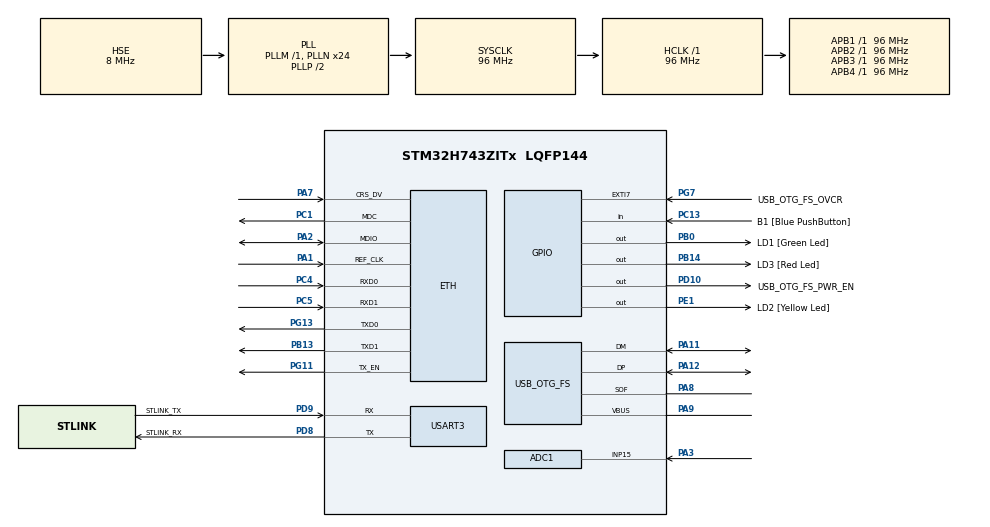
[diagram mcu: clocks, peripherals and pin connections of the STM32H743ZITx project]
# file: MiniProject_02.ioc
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ADC1.Channel-0\#ChannelRegularConversion=ADC_CHANNEL_15
ADC1.ConversionDataManagement=ADC_CONVERSIONDATA_DMA_ONESHOT
ADC1.ExternalTrigConv=ADC_EXTERNALTRIG_T1_TRGO
ADC1.NbrOfConversionFlag=1
ADC1.OffsetNumber-0\#ChannelRegularConversion=ADC_OFFSET_NONE
ADC1.OffsetSignedSaturation-0\#ChannelRegularConversion=DISABLE
ADC1.Rank-0\#ChannelRegularConversion=1
ADC1.SamplingTime-0\#ChannelRegularConversion=ADC_SAMPLETIME_1CYCLE_5
ADC1.master=1
Dma.ADC1.0.Direction=DMA_PERIPH_TO_MEMORY
Dma.ADC1.0.EventEnable=DISABLE
Dma.ADC1.0.FIFOMode=DMA_FIFOMODE_DISABLE
Dma.ADC1.0.Instance=DMA1_Stream0
Dma.ADC1.0.MemDataAlignment=DMA_MDATAALIGN_HALFWORD
Dma.ADC1.0.MemInc=DMA_MINC_ENABLE
Dma.ADC1.0.Mode=DMA_NORMAL
Dma.ADC1.0.PeriphDataAlignment=DMA_PDATAALIGN_HALFWORD
Dma.ADC1.0.PeriphInc=DMA_PINC_DISABLE
Dma.ADC1.0.Polarity=HAL_DMAMUX_REQ_GEN_RISING
Dma.ADC1.0.Priority=DMA_PRIORITY_LOW
Dma.ADC1.0.RequestNumber=1
Dma.ADC1.0.SignalID=NONE
Dma.ADC1.0.SyncEnable=DISABLE
Dma.ADC1.0.SyncPolarity=HAL_DMAMUX_SYNC_NO_EVENT
Dma.ADC1.0.SyncRequestNumber=1
Dma.ADC1.0.SyncSignalID=NONE
Dma.Request0=ADC1
ETH.MediaInterface=HAL_ETH_RMII_MODE
Mcu.Family=STM32H7
Mcu.Name=STM32H743ZITx
Mcu.Package=LQFP144
NVIC.DMA1_Stream0_IRQn=true\:0\:0\:false\:false\:true\:false\:true
NVIC.PriorityGroup=NVIC_PRIORITYGROUP_4
PA1.Mode=RMII
PA1.Signal=ETH_REF_CLK
PA11.Mode=Device_Only
PA11.Signal=USB_OTG_FS_DM
PA12.Mode=Device_Only
PA12.Signal=USB_OTG_FS_DP
PA2.Mode=RMII
PA2.Signal=ETH_MDIO
PA3.Signal=ADCx_INP15
PA7.Mode=RMII
PA7.Signal=ETH_CRS_DV
PA8.Mode=Activate_SOF_FS
PA8.Signal=USB_OTG_FS_SOF
PA9.Mode=Activate_VBUS
PA9.Signal=USB_OTG_FS_VBUS
PB0.GPIO_Label=LD1 [Green Led]
PB0.Signal=GPIO_Output
PB13.Mode=RMII
PB13.Signal=ETH_TXD1
PB14.GPIO_Label=LD3 [Red Led]
PB14.Signal=GPIO_Output
PC1.Mode=RMII
PC1.Signal=ETH_MDC
PC13.GPIO_Label=B1 [Blue PushButton]
PC13.Signal=GPIO_Input
PC14-OSC32_IN\ (OSC32_IN).Mode=LSE-External-Oscillator
PC14-OSC32_IN\ (OSC32_IN).Signal=RCC_OSC32_IN
PC15-OSC32_OUT\ (OSC32_OUT).Mode=LSE-External-Oscillator
PC15-OSC32_OUT\ (OSC32_OUT).Signal=RCC_OSC32_OUT
PC4.Mode=RMII
PC4.Signal=ETH_RXD0
PC5.Mode=RMII
PC5.Signal=ETH_RXD1
PD10.GPIO_Label=USB_OTG_FS_PWR_EN
PD10.Signal=GPIO_Output
PD8.GPIO_Label=STLINK_RX
PD8.Mode=Asynchronous
PD8.Signal=USART3_TX
PD9.GPIO_Label=STLINK_TX
PD9.Mode=Asynchronous
PD9.Signal=USART3_RX
PE1.GPIO_Label=LD2 [Yellow Led]
PE1.Signal=GPIO_Output
PG11.Mode=RMII
PG11.Signal=ETH_TX_EN
PG13.Mode=RMII
PG13.Signal=ETH_TXD0
PG7.GPIO_Label=USB_OTG_FS_OVCR
PG7.Signal=GPXTI7
PH0-OSC_IN\ (PH0).Mode=HSE-External-Clock-Source
PH0-OSC_IN\ (PH0).Signal=RCC_OSC_IN
PH1-OSC_OUT\ (PH1).Signal=RCC_OSC_OUT
ProjectManager.HeapSize=0x200
ProjectManager.StackSize=0x400
ProjectManager.TargetToolchain=STM32CubeIDE
RCC.ADCFreq_Value=50666666.666666664
RCC.APB1Freq_Value=96000000
RCC.APB2Freq_Value=96000000
RCC.APB3Freq_Value=96000000
RCC.APB4Freq_Value=96000000
RCC.CortexFreq_Value=96000000
RCC.DIVM1=1
RCC.DIVM2=1
RCC.DIVN1=24
RCC.DIVN2=19
RCC.DIVP2=3
RCC.DIVQ1=4
RCC.HCLKFreq_Value=96000000
RCC.HSE_VALUE=8000000
RCC.PLLFRACN=0
RCC.SYSCLKFreq_VALUE=96000000
RCC.SYSCLKSource=RCC_SYSCLKSOURCE_PLLCLK
RCC.USBFreq_Value=48000000
SH.ADCx_INP15.0=ADC1_INP15,IN15-Single-Ended
TIM1.Period=6000-1
TIM1.TIM_MasterOutputTrigger=TIM_TRGO_UPDATE
USART3.VirtualMode-Asynchronous=VM_ASYNC
USB_OTG_FS.VirtualMode=Device_Only
VP_TIM1_VS_ClockSourceINT.Mode=Internal
board=NUCLEO-H743ZI2

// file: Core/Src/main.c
/* USER CODE BEGIN Header */
/**
 ******************************************************************************
 * @file           : main.c
 * @brief          : Main program body
 ******************************************************************************
 * @attention
 *
 * <h2><center>&copy; Copyright (c) 2020 STMicroelectronics.
 * All rights reserved.</center></h2>
 *
 * This software component is licensed by ST under BSD 3-Clause license,
 * the "License"; You may not use this file except in compliance with the
 * License. You may obtain a copy of the License at:
 *                        opensource.org/licenses/BSD-3-Clause
 *
 ******************************************************************************
 */
/* USER CODE END Header */
#include "main.h"
#include "string.h"

#if defined ( __ICCARM__ ) /*!< IAR Compiler */

#pragma location=0x30040000
ETH_DMADescTypeDef  DMARxDscrTab[ETH_RX_DESC_CNT]; /* Ethernet Rx DMA Descriptors */
#pragma location=0x30040060
ETH_DMADescTypeDef  DMATxDscrTab[ETH_TX_DESC_CNT]; /* Ethernet Tx DMA Descriptors */
#pragma location=0x30040200
uint8_t Rx_Buff[ETH_RX_DESC_CNT][ETH_MAX_PACKET_SIZE]; /* Ethernet Receive Buffers */

#elif defined ( __CC_ARM )  /* MDK ARM Compiler */

__attribute__((at(0x30040000))) ETH_DMADescTypeDef  DMARxDscrTab[ETH_RX_DESC_CNT]; /* Ethernet Rx DMA Descriptors */
__attribute__((at(0x30040060))) ETH_DMADescTypeDef  DMATxDscrTab[ETH_TX_DESC_CNT]; /* Ethernet Tx DMA Descriptors */
__attribute__((at(0x30040200))) uint8_t Rx_Buff[ETH_RX_DESC_CNT][ETH_MAX_PACKET_SIZE]; /* Ethernet Receive Buffer */

#elif defined ( __GNUC__ ) /* GNU Compiler */

ETH_DMADescTypeDef DMARxDscrTab[ETH_RX_DESC_CNT] __attribute__((section(".RxDecripSection"))); /* Ethernet Rx DMA Descriptors */
ETH_DMADescTypeDef DMATxDscrTab[ETH_TX_DESC_CNT] __attribute__((section(".TxDecripSection")));   /* Ethernet Tx DMA Descriptors */
uint8_t Rx_Buff[ETH_RX_DESC_CNT][ETH_MAX_PACKET_SIZE] __attribute__((section(".RxArraySection"))); /* Ethernet Receive Buffers */

#endif

ETH_TxPacketConfig TxConfig;
ADC_HandleTypeDef hadc1;
DMA_HandleTypeDef hdma_adc1;

ETH_HandleTypeDef heth;

TIM_HandleTypeDef htim1;

UART_HandleTypeDef huart3;

PCD_HandleTypeDef hpcd_USB_OTG_FS;

void SystemClock_Config(void);
static void MX_GPIO_Init(void);
static void MX_DMA_Init(void);
static void MX_ETH_Init(void);
static void MX_USART3_UART_Init(void);
static void MX_USB_OTG_FS_PCD_Init(void);
static void MX_ADC1_Init(void);
static void MX_TIM1_Init(void);

/* USER CODE BEGIN 0 */
#include <stdio.h>
#include "malloc.h"
#include "arm_math.h"
#include "nn.h"

#define ARM_MATH_CM7
#define __FPU_PRESENT_1
#define ADC_BUF_SIZE 1024
#define K ADC_BUF_SIZE/2+1

float MFCC[13];
uint16_t ADC_buff[ADC_BUF_SIZE];
int record_done = 0;
float mag_print;
/* USER CODE END 0 */

int main(void)
{

	/* MCU Configuration--------------------------------------------------------*/

	/* Reset of all peripherals, Initializes the Flash interface and the Systick. */
	HAL_Init();

	/* Configure the system clock */
	SystemClock_Config();

	/* Initialize all configured peripherals */
	MX_GPIO_Init();
	MX_DMA_Init();
	MX_ETH_Init();
	MX_USART3_UART_Init();
	MX_USB_OTG_FS_PCD_Init();
	MX_ADC1_Init();
	MX_TIM1_Init();
	/* USER CODE BEGIN 2 */
	if(HAL_ADCEx_Calibration_Start(&hadc1, ADC_CALIB_OFFSET,ADC_SINGLE_ENDED) != HAL_OK){
		Error_Handler();
	}
	// Start TIM1
	if(HAL_TIM_Base_Start(&htim1) != HAL_OK){
		Error_Handler();
	}
	// FFT handler initialization
	arm_cfft_instance_f32 fft_handler;
	arm_cfft_init_f32(&fft_handler, ADC_BUF_SIZE);
	/* USER CODE END 2 */

	/* Infinite loop */
	while (1)
	{

		/* USER CODE BEGIN 3 */
		HAL_Delay(1000);
		// Start sampling
		if(HAL_ADC_Start_DMA(&hadc1, (uint32_t *)&ADC_buff, ADC_BUF_SIZE) != HAL_OK){
			Error_Handler();
		}

		while(1){
			if(record_done == 1){
				record_done = 0;
				break;
			}
		}
		/*
		// Print voice signal
		for (int i=0; i<ADC_BUF_SIZE; i++)
		{
			mag_print = ADC_buff[i];
			HAL_Delay(10);
		}
		 */
		/*
		 *  STEP 1: Window filtering
		 */
		// Subtract the average value
		float avg_val;
		for(int i=0; i<ADC_BUF_SIZE; i++)
		{
			avg_val += ADC_buff[i];
		}
		avg_val /= ADC_BUF_SIZE;
		// Window filtering
		float window[ADC_BUF_SIZE];
		for(int i=0; i<ADC_BUF_SIZE; i++)
		{
			window[i] = 0.54 - 0.46 * cos(2*M_PI*i / (ADC_BUF_SIZE-1));
		}
		/*
		 * STEP 2: Periodogram computation
		 */
		// Convert to complex array
		float* complex_input = (float*)malloc(ADC_BUF_SIZE*2*sizeof(float));
		for(int i = 0; i< ADC_BUF_SIZE; i++)
		{
			complex_input[2*i] = ((float)ADC_buff[i] - avg_val) * window[i];
			complex_input[2*i + 1] = 0;
		}
		// Perform FFT
		arm_cfft_f32(&fft_handler, complex_input, 0, 1);
		/*
		// Print FFT
		for(int i = 0; i < 2048; i++){
			printf("%.3f \n", complex_input[i]);
			HAL_Delay(5);
		}
		 */
		// K points of the magnitude squared
		float mag_sq_input[ADC_BUF_SIZE] = {0};
		for(int i=0; i<ADC_BUF_SIZE; i++)
		{
			mag_sq_input[i] = powf(complex_input[2*i],2)+powf(complex_input[2*i+1],2);
		}
		float K_input[K];
		for(int i=0; i<K; i++)
		{
			K_input[i] = mag_sq_input[i];
		}
		/*
		 *  STEP 3: Filter bank construction
		 */
		// Mel freq based on phi_0 and phi_(M+1)
		float f_mel[28] = {0};
		f_mel[0] 	= 2595 * log10f(1+250/700.f);
		f_mel[27] = 2595 * log10f(1+8e3/700.f);
		float f_mel_div = (f_mel[27]-f_mel[0])/27;
		// M frequencies and inverse mapping
		float f_phi[28] = {0};
		for(int i=0; i<28; i++)
		{
			f_mel[i] = f_mel[0] + f_mel_div * i;
			f_phi[i] = 700 * (powf(10, f_mel[i]/2595) - 1);
		}
		// Lambda calculation
		float lambda[28] = {0};
		for(int i=0; i<28; i++)
		{
			lambda[i] = (int)(513 * f_phi[i] / 8e3);
		}
		// Construction of the filter bank
		float filter[26][K] = {0};
		for(int filter_index=0; filter_index<26; filter_index++) // iteration per filter
		{
			float f_min_index = lambda[filter_index];
			float f_mid_index = lambda[filter_index+1];
			float f_max_index = lambda[filter_index+2];
			for(int f_PSD_index=0; f_PSD_index<K; f_PSD_index++) // iteration per PSD frequency
			{
				// f < lambda_(m-1) OR f > lambda_(m+1)
				if(f_PSD_index < f_min_index || f_PSD_index > f_max_index)
				{
					filter[filter_index][f_PSD_index] = 0;
				}
				// 0 to 1 linear interpolation lambda_(m-1) <= f <= lambda_(m)
				else if(f_PSD_index >= f_min_index && f_PSD_index <= f_mid_index)
				{
					filter[filter_index][f_PSD_index] = (f_PSD_index - f_min_index ) / (f_mid_index - f_min_index);
				}
				// 1 to 0 linear interpolation lambda_(m) <= f <= lambda_(m+1)
				else if(f_PSD_index >= f_mid_index && f_PSD_index <= f_max_index)
				{
					filter[filter_index][f_PSD_index] = 1 - (f_PSD_index - f_mid_index ) / (f_max_index - f_mid_index);
				}
			}
		}
		/*
		// Print filter bank
		for(int i=0; i<513; i++)
		{
			for(int j=0; j<26; j++)
			{
				mag_print = filter[j][i];
				HAL_Delay(1);
			}
			HAL_Delay(20);
		}
		 */
		/*
		 *  STEP 4 & 5: Filter bank application & Logarithmic energy output
		 */
		float K_energy[26] = {0};
		for(int i=0; i<26; i++) // filter
		{
			for(int j=0; j<K; j++) // K elements
			{
				K_energy[i] += K_input[j] * filter[i][j];
			}
			K_energy[i] = log10f(K_energy[i]);
		}
		/*
		 *  STEP 6: MFCC values
		 */
		for(int i=0; i<13; i++) // MFCC index
		{
			for(int j=0; j<26; j++) // Energy element
			{
				MFCC[i] += K_energy[j] * cos((i+1) * ((j+1) - 0.5) * M_PI / 26);
			}
		}
		/*
		// Print MFCCs
		for(int i=0; i<13; i++)
		{
			printf("%.6f", MFCC[i]);
			if (i < 12)
			{
				printf(", ");
			}
			HAL_Delay(5);
		}
		printf("\n");
		*/
		/*
		 *  NN Forward Propagation
		 */
		double hidden_1[SIZE_1] = {0};
		double probability[4] = {0};
		// preprocessing
		for (int i = 0; i < 13; i++)
			MFCC[i] = ((MFCC[i] - x1_offset[i]) * x1_gain[i]) + x1_ymin;
		// fully connected layers
		dense_Sig(MFCC, hidden_1, 13, SIZE_1);
		dense_S(hidden_1, probability, SIZE_1, 4);
		// print out prediction
		printf("Probability of 'ah': %.10f\n", probability[0]);
		printf("Probability of 'eh': %.10f\n", probability[1]);
		printf("Probability of 'ee': %.10f\n", probability[2]);
		printf("Probability of 'oo': %.10f\n", probability[3]);
		// Zero out the MFCC
		for(int i=0; i<13; i++)
		{
			MFCC[i] = 0;
		}
		// Free allocated memory
		free(complex_input);
	}
	/* USER CODE END 3 */
}

void SystemClock_Config(void)
{
	RCC_OscInitTypeDef RCC_OscInitStruct = {0};
	RCC_ClkInitTypeDef RCC_ClkInitStruct = {0};
	RCC_PeriphCLKInitTypeDef PeriphClkInitStruct = {0};

	/** Supply configuration update enable
	 */
	HAL_PWREx_ConfigSupply(PWR_LDO_SUPPLY);
	/** Configure the main internal regulator output voltage
	 */
	__HAL_PWR_VOLTAGESCALING_CONFIG(PWR_REGULATOR_VOLTAGE_SCALE3);

	while(!__HAL_PWR_GET_FLAG(PWR_FLAG_VOSRDY)) {}
	/** Macro to configure the PLL clock source
	 */
	__HAL_RCC_PLL_PLLSOURCE_CONFIG(RCC_PLLSOURCE_HSE);
	/** Initializes the RCC Oscillators according to the specified parameters
	 * in the RCC_OscInitTypeDef structure.
	 */
	RCC_OscInitStruct.OscillatorType = RCC_OSCILLATORTYPE_HSE;
	RCC_OscInitStruct.HSEState = RCC_HSE_BYPASS;
	RCC_OscInitStruct.PLL.PLLState = RCC_PLL_ON;
	RCC_OscInitStruct.PLL.PLLSource = RCC_PLLSOURCE_HSE;
	RCC_OscInitStruct.PLL.PLLM = 1;
	RCC_OscInitStruct.PLL.PLLN = 24;
	RCC_OscInitStruct.PLL.PLLP = 2;
	RCC_OscInitStruct.PLL.PLLQ = 4;
	RCC_OscInitStruct.PLL.PLLR = 2;
	RCC_OscInitStruct.PLL.PLLRGE = RCC_PLL1VCIRANGE_3;
	RCC_OscInitStruct.PLL.PLLVCOSEL = RCC_PLL1VCOWIDE;
	RCC_OscInitStruct.PLL.PLLFRACN = 0;
	if (HAL_RCC_OscConfig(&RCC_OscInitStruct) != HAL_OK)
	{
		Error_Handler();
	}
	/** Initializes the CPU, AHB and APB buses clocks
	 */
	RCC_ClkInitStruct.ClockType = RCC_CLOCKTYPE_HCLK|RCC_CLOCKTYPE_SYSCLK
			|RCC_CLOCKTYPE_PCLK1|RCC_CLOCKTYPE_PCLK2
			|RCC_CLOCKTYPE_D3PCLK1|RCC_CLOCKTYPE_D1PCLK1;
	RCC_ClkInitStruct.SYSCLKSource = RCC_SYSCLKSOURCE_PLLCLK;
	RCC_ClkInitStruct.SYSCLKDivider = RCC_SYSCLK_DIV1;
	RCC_ClkInitStruct.AHBCLKDivider = RCC_HCLK_DIV1;
	RCC_ClkInitStruct.APB3CLKDivider = RCC_APB3_DIV1;
	RCC_ClkInitStruct.APB1CLKDivider = RCC_APB1_DIV1;
	RCC_ClkInitStruct.APB2CLKDivider = RCC_APB2_DIV1;
	RCC_ClkInitStruct.APB4CLKDivider = RCC_APB4_DIV1;

	if (HAL_RCC_ClockConfig(&RCC_ClkInitStruct, FLASH_LATENCY_1) != HAL_OK)
	{
		Error_Handler();
	}
	PeriphClkInitStruct.PeriphClockSelection = RCC_PERIPHCLK_USART3|RCC_PERIPHCLK_ADC
			|RCC_PERIPHCLK_USB;
	PeriphClkInitStruct.PLL2.PLL2M = 1;
	PeriphClkInitStruct.PLL2.PLL2N = 19;
	PeriphClkInitStruct.PLL2.PLL2P = 3;
	PeriphClkInitStruct.PLL2.PLL2Q = 2;
	PeriphClkInitStruct.PLL2.PLL2R = 2;
	PeriphClkInitStruct.PLL2.PLL2RGE = RCC_PLL2VCIRANGE_3;
	PeriphClkInitStruct.PLL2.PLL2VCOSEL = RCC_PLL2VCOMEDIUM;
	PeriphClkInitStruct.PLL2.PLL2FRACN = 0;
	PeriphClkInitStruct.Usart234578ClockSelection = RCC_USART234578CLKSOURCE_D2PCLK1;
	PeriphClkInitStruct.UsbClockSelection = RCC_USBCLKSOURCE_PLL;
	PeriphClkInitStruct.AdcClockSelection = RCC_ADCCLKSOURCE_PLL2;
	if (HAL_RCCEx_PeriphCLKConfig(&PeriphClkInitStruct) != HAL_OK)
	{
		Error_Handler();
	}
	/** Enable USB Voltage detector
	 */
	HAL_PWREx_EnableUSBVoltageDetector();
}

static void MX_ADC1_Init(void)
{

	ADC_MultiModeTypeDef multimode = {0};
	ADC_ChannelConfTypeDef sConfig = {0};

	/** Common config
	 */
	hadc1.Instance = ADC1;
	hadc1.Init.ClockPrescaler = ADC_CLOCK_ASYNC_DIV1;
	hadc1.Init.Resolution = ADC_RESOLUTION_16B;
	hadc1.Init.ScanConvMode = ADC_SCAN_DISABLE;
	hadc1.Init.EOCSelection = ADC_EOC_SINGLE_CONV;
	hadc1.Init.LowPowerAutoWait = DISABLE;
	hadc1.Init.ContinuousConvMode = DISABLE;
	hadc1.Init.NbrOfConversion = 1;
	hadc1.Init.DiscontinuousConvMode = DISABLE;
	hadc1.Init.ExternalTrigConv = ADC_EXTERNALTRIG_T1_TRGO;
	hadc1.Init.ExternalTrigConvEdge = ADC_EXTERNALTRIGCONVEDGE_RISING;
	hadc1.Init.ConversionDataManagement = ADC_CONVERSIONDATA_DMA_ONESHOT;
	hadc1.Init.Overrun = ADC_OVR_DATA_PRESERVED;
	hadc1.Init.LeftBitShift = ADC_LEFTBITSHIFT_NONE;
	hadc1.Init.OversamplingMode = DISABLE;
	if (HAL_ADC_Init(&hadc1) != HAL_OK)
	{
		Error_Handler();
	}
	/** Configure the ADC multi-mode
	 */
	multimode.Mode = ADC_MODE_INDEPENDENT;
	if (HAL_ADCEx_MultiModeConfigChannel(&hadc1, &multimode) != HAL_OK)
	{
		Error_Handler();
	}
	/** Configure Regular Channel
	 */
	sConfig.Channel = ADC_CHANNEL_15;
	sConfig.Rank = ADC_REGULAR_RANK_1;
	sConfig.SamplingTime = ADC_SAMPLETIME_1CYCLE_5;
	sConfig.SingleDiff = ADC_SINGLE_ENDED;
	sConfig.OffsetNumber = ADC_OFFSET_NONE;
	sConfig.Offset = 0;
	sConfig.OffsetSignedSaturation = DISABLE;
	if (HAL_ADC_ConfigChannel(&hadc1, &sConfig) != HAL_OK)
	{
		Error_Handler();
	}

}

static void MX_ETH_Init(void)
{

	heth.Instance = ETH;
	heth.Init.MACAddr[0] =   0x00;
	heth.Init.MACAddr[1] =   0x80;
	heth.Init.MACAddr[2] =   0xE1;
	heth.Init.MACAddr[3] =   0x00;
	heth.Init.MACAddr[4] =   0x00;
	heth.Init.MACAddr[5] =   0x00;
	heth.Init.MediaInterface = HAL_ETH_RMII_MODE;
	heth.Init.TxDesc = DMATxDscrTab;
	heth.Init.RxDesc = DMARxDscrTab;
	heth.Init.RxBuffLen = 1524;

	if (HAL_ETH_Init(&heth) != HAL_OK)
	{
		Error_Handler();
	}

	memset(&TxConfig, 0 , sizeof(ETH_TxPacketConfig));
	TxConfig.Attributes = ETH_TX_PACKETS_FEATURES_CSUM | ETH_TX_PACKETS_FEATURES_CRCPAD;
	TxConfig.ChecksumCtrl = ETH_CHECKSUM_IPHDR_PAYLOAD_INSERT_PHDR_CALC;
	TxConfig.CRCPadCtrl = ETH_CRC_PAD_INSERT;

}

static void MX_TIM1_Init(void)
{

	TIM_ClockConfigTypeDef sClockSourceConfig = {0};
	TIM_MasterConfigTypeDef sMasterConfig = {0};

	htim1.Instance = TIM1;
	htim1.Init.Prescaler = 0;
	htim1.Init.CounterMode = TIM_COUNTERMODE_UP;
	htim1.Init.Period = 6000-1;
	htim1.Init.ClockDivision = TIM_CLOCKDIVISION_DIV1;
	htim1.Init.RepetitionCounter = 0;
	htim1.Init.AutoReloadPreload = TIM_AUTORELOAD_PRELOAD_DISABLE;
	if (HAL_TIM_Base_Init(&htim1) != HAL_OK)
	{
		Error_Handler();
	}
	sClockSourceConfig.ClockSource = TIM_CLOCKSOURCE_INTERNAL;
	if (HAL_TIM_ConfigClockSource(&htim1, &sClockSourceConfig) != HAL_OK)
	{
		Error_Handler();
	}
	sMasterConfig.MasterOutputTrigger = TIM_TRGO_UPDATE;
	sMasterConfig.MasterOutputTrigger2 = TIM_TRGO2_RESET;
	sMasterConfig.MasterSlaveMode = TIM_MASTERSLAVEMODE_DISABLE;
	if (HAL_TIMEx_MasterConfigSynchronization(&htim1, &sMasterConfig) != HAL_OK)
	{
		Error_Handler();
	}

}

static void MX_USART3_UART_Init(void)
{

	huart3.Instance = USART3;
	huart3.Init.BaudRate = 115200;
	huart3.Init.WordLength = UART_WORDLENGTH_8B;
	huart3.Init.StopBits = UART_STOPBITS_1;
	huart3.Init.Parity = UART_PARITY_NONE;
	huart3.Init.Mode = UART_MODE_TX_RX;
	huart3.Init.HwFlowCtl = UART_HWCONTROL_NONE;
	huart3.Init.OverSampling = UART_OVERSAMPLING_16;
	huart3.Init.OneBitSampling = UART_ONE_BIT_SAMPLE_DISABLE;
	huart3.Init.ClockPrescaler = UART_PRESCALER_DIV1;
	huart3.AdvancedInit.AdvFeatureInit = UART_ADVFEATURE_NO_INIT;
	if (HAL_UART_Init(&huart3) != HAL_OK)
	{
		Error_Handler();
	}
	if (HAL_UARTEx_SetTxFifoThreshold(&huart3, UART_TXFIFO_THRESHOLD_1_8) != HAL_OK)
	{
		Error_Handler();
	}
	if (HAL_UARTEx_SetRxFifoThreshold(&huart3, UART_RXFIFO_THRESHOLD_1_8) != HAL_OK)
	{
		Error_Handler();
	}
	if (HAL_UARTEx_DisableFifoMode(&huart3) != HAL_OK)
	{
		Error_Handler();
	}

}

static void MX_USB_OTG_FS_PCD_Init(void)
{

	hpcd_USB_OTG_FS.Instance = USB_OTG_FS;
	hpcd_USB_OTG_FS.Init.dev_endpoints = 9;
	hpcd_USB_OTG_FS.Init.speed = PCD_SPEED_FULL;
	hpcd_USB_OTG_FS.Init.dma_enable = DISABLE;
	hpcd_USB_OTG_FS.Init.phy_itface = PCD_PHY_EMBEDDED;
	hpcd_USB_OTG_FS.Init.Sof_enable = ENABLE;
	hpcd_USB_OTG_FS.Init.low_power_enable = DISABLE;
	hpcd_USB_OTG_FS.Init.lpm_enable = DISABLE;
	hpcd_USB_OTG_FS.Init.battery_charging_enable = ENABLE;
	hpcd_USB_OTG_FS.Init.vbus_sensing_enable = ENABLE;
	hpcd_USB_OTG_FS.Init.use_dedicated_ep1 = DISABLE;
	if (HAL_PCD_Init(&hpcd_USB_OTG_FS) != HAL_OK)
	{
		Error_Handler();
	}

}

static void MX_DMA_Init(void)
{

	/* DMA controller clock enable */
	__HAL_RCC_DMA1_CLK_ENABLE();

	/* DMA interrupt init */
	/* DMA1_Stream0_IRQn interrupt configuration */
	HAL_NVIC_SetPriority(DMA1_Stream0_IRQn, 0, 0);
	HAL_NVIC_EnableIRQ(DMA1_Stream0_IRQn);

}

static void MX_GPIO_Init(void)
{
	GPIO_InitTypeDef GPIO_InitStruct = {0};

	/* GPIO Ports Clock Enable */
	__HAL_RCC_GPIOC_CLK_ENABLE();
	__HAL_RCC_GPIOH_CLK_ENABLE();
	__HAL_RCC_GPIOA_CLK_ENABLE();
	__HAL_RCC_GPIOB_CLK_ENABLE();
	__HAL_RCC_GPIOD_CLK_ENABLE();
	__HAL_RCC_GPIOG_CLK_ENABLE();
	__HAL_RCC_GPIOE_CLK_ENABLE();

	/*Configure GPIO pin Output Level */
	HAL_GPIO_WritePin(GPIOB, LD1_Pin|LD3_Pin, GPIO_PIN_RESET);

	/*Configure GPIO pin Output Level */
	HAL_GPIO_WritePin(USB_OTG_FS_PWR_EN_GPIO_Port, USB_OTG_FS_PWR_EN_Pin, GPIO_PIN_RESET);

	/*Configure GPIO pin Output Level */
	HAL_GPIO_WritePin(LD2_GPIO_Port, LD2_Pin, GPIO_PIN_RESET);

	/*Configure GPIO pin : B1_Pin */
	GPIO_InitStruct.Pin = B1_Pin;
	GPIO_InitStruct.Mode = GPIO_MODE_INPUT;
	GPIO_InitStruct.Pull = GPIO_NOPULL;
	HAL_GPIO_Init(B1_GPIO_Port, &GPIO_InitStruct);

	/*Configure GPIO pins : LD1_Pin LD3_Pin */
	GPIO_InitStruct.Pin = LD1_Pin|LD3_Pin;
	GPIO_InitStruct.Mode = GPIO_MODE_OUTPUT_PP;
	GPIO_InitStruct.Pull = GPIO_NOPULL;
	GPIO_InitStruct.Speed = GPIO_SPEED_FREQ_LOW;
	HAL_GPIO_Init(GPIOB, &GPIO_InitStruct);

	/*Configure GPIO pin : USB_OTG_FS_PWR_EN_Pin */
	GPIO_InitStruct.Pin = USB_OTG_FS_PWR_EN_Pin;
	GPIO_InitStruct.Mode = GPIO_MODE_OUTPUT_PP;
	GPIO_InitStruct.Pull = GPIO_NOPULL;
	GPIO_InitStruct.Speed = GPIO_SPEED_FREQ_LOW;
	HAL_GPIO_Init(USB_OTG_FS_PWR_EN_GPIO_Port, &GPIO_InitStruct);

	/*Configure GPIO pin : USB_OTG_FS_OVCR_Pin */
	GPIO_InitStruct.Pin = USB_OTG_FS_OVCR_Pin;
	GPIO_InitStruct.Mode = GPIO_MODE_IT_RISING;
	GPIO_InitStruct.Pull = GPIO_NOPULL;
	HAL_GPIO_Init(USB_OTG_FS_OVCR_GPIO_Port, &GPIO_InitStruct);

	/*Configure GPIO pin : LD2_Pin */
	GPIO_InitStruct.Pin = LD2_Pin;
	GPIO_InitStruct.Mode = GPIO_MODE_OUTPUT_PP;
	GPIO_InitStruct.Pull = GPIO_NOPULL;
	GPIO_InitStruct.Speed = GPIO_SPEED_FREQ_LOW;
	HAL_GPIO_Init(LD2_GPIO_Port, &GPIO_InitStruct);

}

/* USER CODE BEGIN 4 */
void HAL_ADC_ConvCpltCallback(ADC_HandleTypeDef *hadc){
	if(HAL_ADC_Stop_DMA(&hadc1) != HAL_OK){
		Error_Handler();
	}
	record_done = 1;
}

int _write(int file, char *ptr, int len)
{
	/* Implement your write code here, this is used by puts and printf for example */
	int i=0;
	for(i=0 ; i<len ; i++)
		ITM_SendChar((*ptr++));
	return len;
}
/* USER CODE END 4 */

void Error_Handler(void)
{
	/* USER CODE BEGIN Error_Handler_Debug */
	/* User can add his own implementation to report the HAL error return state */
	HAL_GPIO_WritePin(GPIOB, LD3_Pin, GPIO_PIN_SET);
	/* USER CODE END Error_Handler_Debug */
}

/************************ (C) COPYRIGHT STMicroelectronics *****END OF FILE****/
